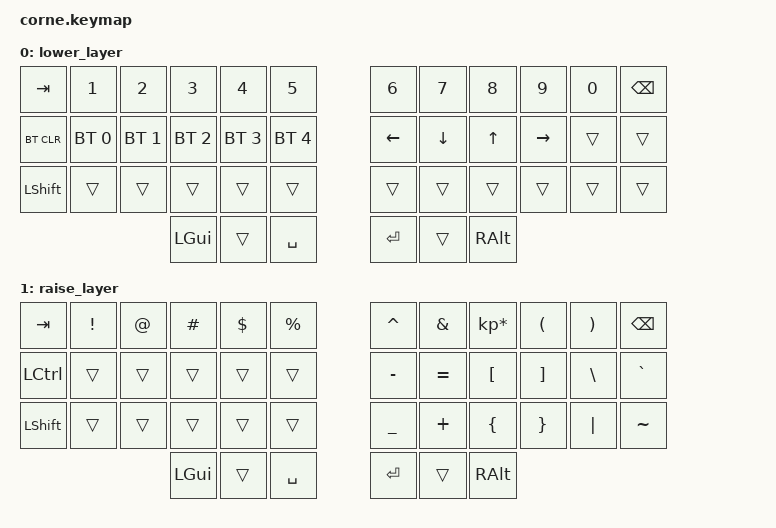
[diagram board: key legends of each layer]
/*
 * Copyright (c) 2020 The ZMK Contributors
 *
 * SPDX-License-Identifier: MIT
 */

#include <behaviors.dtsi>
#include <dt-bindings/zmk/keys.h>
#include <dt-bindings/zmk/bt.h>

/ {
        keymap {
                compatible = "zmk,keymap";

                default_layer {
// -----------------------------------------------------------------------------------------
// | ESC  |  1  |  2  |  3  |  4  |  5  |
// | TAB  |  V  |  Q  |  W  |  E  |  R  |
// | SHIFT|  Z  |  A  |  S  |  D  |  G  |
// | CTRL |  N  |  X  |  F  |  V  |  M  |
//                          | ALT | GUI | SPC |                      	
                   bindings = <
   &kp ESC	&kp N1	&kp N2	&kp N3	&kp N4	&kp N5
   &kp Tab
                };
                lower_layer {
// -----------------------------------------------------------------------------------------
// |  TAB |  1  |  2  |  3  |  4  |  5  |   |  6  |  7  |  8  |  9  |  0  | BKSP |
// | BTCLR| BT1 | BT2 | BT3 | BT4 | BT5 |   | LFT | DWN |  UP | RGT |     |      |
// | SHFT |     |     |     |     |     |   |     |     |     |     |     |      |
//                    | GUI |     | SPC |   | ENT |     | ALT |
                        bindings = <
   &kp TAB    &kp N1       &kp N2       &kp N3       &kp N4       &kp N5         &kp N6   &kp N7   &kp N8 &kp N9    &kp N0 &kp BSPC
   &bt BT_CLR &bt BT_SEL 0 &bt BT_SEL 1 &bt BT_SEL 2 &bt BT_SEL 3 &bt BT_SEL 4   &kp LEFT &kp DOWN &kp UP &kp RIGHT &trans &trans
   &kp LSHFT  &trans       &trans       &trans       &trans       &trans         &trans   &trans   &trans &trans    &trans &trans
                          	        &kp LGUI     &trans       &kp SPACE      &kp RET  &trans   &kp RALT
                        >;
                };

                raise_layer {
// -----------------------------------------------------------------------------------------
// |  TAB |  !  |  @  |  #  |  $  |  %  |   |  ^  |  &  |  *  |  (  |  )  | BKSP |
// | CTRL |     |     |     |     |     |   |  -  |  =  |  [  |  ]  |  \  |  `   |
// | SHFT |     |     |     |     |     |   |  _  |  +  |  {  |  }  | "|" |  ~   |
//                    | GUI |     | SPC |   | ENT |     | ALT |
                        bindings = <
   &kp  TAB  &kp EXCL &kp AT &kp HASH &kp DLLR &kp PRCNT   &kp CARET &kp AMPS  &kp KP_MULTIPLY &kp LPAR &kp RPAR &kp BSPC
   &kp LCTRL &trans   &trans &trans   &trans   &trans      &kp MINUS &kp EQUAL &kp LBKT        &kp RBKT &kp BSLH &kp GRAVE
   &kp LSHFT &trans   &trans &trans   &trans   &trans      &kp UNDER &kp PLUS  &kp LBRC        &kp RBRC &kp PIPE &kp TILDE
                    	     &kp LGUI &trans   &kp SPACE   &kp RET   &trans    &kp RALT
                        >;
                };
        };
};
